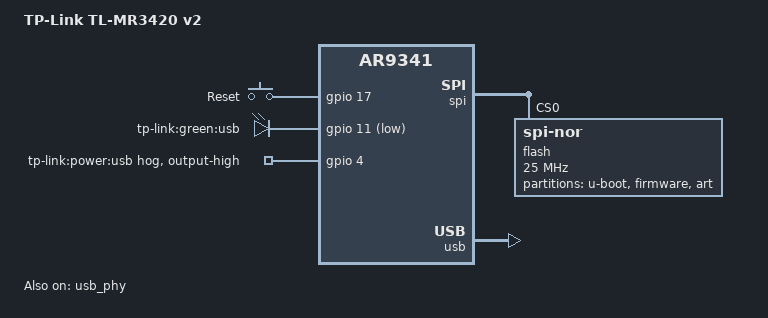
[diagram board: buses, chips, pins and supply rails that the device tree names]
// SPDX-License-Identifier: GPL-2.0-or-later OR MIT
/dts-v1/;

#include "ar9341_tplink.dtsi"

/ {
	model = "TP-Link TL-MR3420 v2";
	compatible = "tplink,tl-mr3420-v2", "qca,ar9341";
};

&keys {
	reset {
		label = "Reset";
		linux,code = <KEY_RESTART>;
		gpios = <&gpio 17 GPIO_ACTIVE_HIGH>;
		debounce-interval = <60>;
	};
};

&leds {
	usb {
		label = "tp-link:green:usb";
		gpios = <&gpio 11 GPIO_ACTIVE_LOW>;
		trigger-sources = <&hub_port>;
		linux,default-trigger = "usbport";
	};
};

&gpio {
	usb_power {
		gpio-hog;
		gpios = <4 GPIO_ACTIVE_HIGH>;
		output-high;
		line-name = "tp-link:power:usb";
	};
};

&spi {
	num-cs = <1>;

	status = "okay";

	flash@0 {
		compatible = "jedec,spi-nor";
		reg = <0>;
		spi-max-frequency = <25000000>;

		partitions {
			compatible = "fixed-partitions";
			#address-cells = <1>;
			#size-cells = <1>;

			uboot: partition@0 {
				label = "u-boot";
				reg = <0x000000 0x020000>;
				read-only;
			};

			partition@20000 {
				compatible = "tplink,firmware";
				label = "firmware";
				reg = <0x020000 0x3d0000>;
			};

			art: partition@3f0000 {
				label = "art";
				reg = <0x3f0000 0x010000>;
				read-only;
			};
		};
	};
};

&usb {
	#address-cells = <1>;
	#size-cells = <0>;
	status = "okay";

	hub_port: port@1 {
		reg = <1>;
		#trigger-source-cells = <0>;
	};
};

&usb_phy {
	status = "okay";
};
